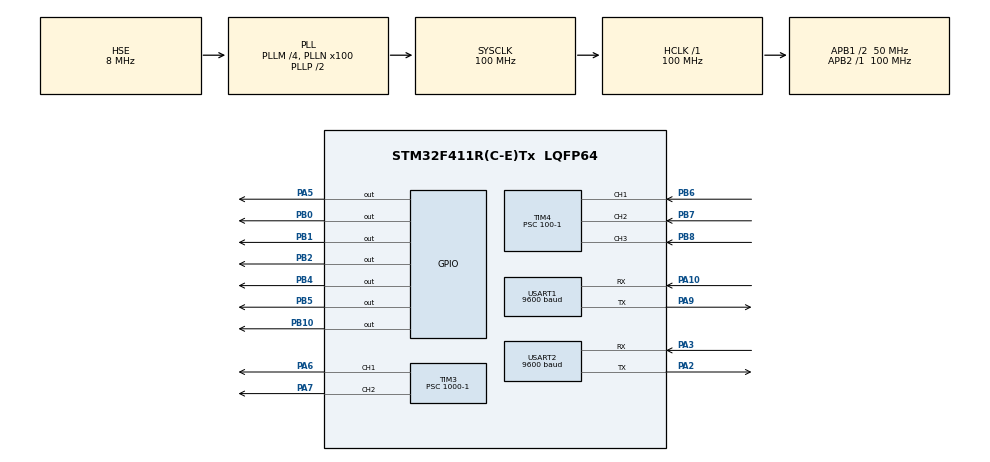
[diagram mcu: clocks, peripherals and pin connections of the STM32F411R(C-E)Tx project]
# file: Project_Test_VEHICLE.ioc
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FREERTOS.Tasks01=L_MOTOR_TASK,24,128,L_MOTOR_TASK01,Default,NULL,Dynamic,NULL,NULL;R_MOTOR_TASK,8,128,R_MOTOR_TASK01,Default,NULL,Dynamic,NULL,NULL;CENTER_SONIC,24,128,CENTER_SONIC01,Default,NULL,Dynamic,NULL,NULL;LEFT_SONIC,24,128,LEFT_SONIC01,Default,NULL,Dynamic,NULL,NULL;RIGHT_SONIC,24,128,RIGHT_SONIC01,Default,NULL,Dynamic,NULL,NULL
FREERTOS.configUSE_NEWLIB_REENTRANT=1
Mcu.Family=STM32F4
Mcu.Name=STM32F411R(C-E)Tx
Mcu.Package=LQFP64
NVIC.PriorityGroup=NVIC_PRIORITYGROUP_4
NVIC.TIM1_UP_TIM10_IRQn=true\:15\:0\:false\:false\:true\:false\:false\:true\:true
NVIC.TIM3_IRQn=true\:5\:0\:false\:false\:true\:true\:true\:true\:true
NVIC.TIM4_IRQn=true\:5\:0\:false\:false\:true\:true\:true\:true\:true
NVIC.TimeBase=TIM1_UP_TIM10_IRQn
NVIC.TimeBaseIP=TIM10
NVIC.USART1_IRQn=true\:5\:0\:false\:false\:true\:true\:true\:true\:true
NVIC.USART2_IRQn=true\:5\:0\:false\:false\:true\:true\:true\:true\:true
PA10.Mode=Asynchronous
PA10.Signal=USART1_RX
PA13.Mode=Serial_Wire
PA13.Signal=SYS_JTMS-SWDIO
PA14.Mode=Serial_Wire
PA14.Signal=SYS_JTCK-SWCLK
PA2.Mode=Asynchronous
PA2.Signal=USART2_TX
PA3.Mode=Asynchronous
PA3.Signal=USART2_RX
PA5.GPIO_Speed=GPIO_SPEED_FREQ_VERY_HIGH
PA5.Signal=GPIO_Output
PA6.Signal=S_TIM3_CH1
PA7.Signal=S_TIM3_CH2
PA9.Mode=Asynchronous
PA9.Signal=USART1_TX
PB0.Signal=GPIO_Output
PB1.Signal=GPIO_Output
PB10.Signal=GPIO_Output
PB2.Signal=GPIO_Output
PB4.GPIO_Speed=GPIO_SPEED_FREQ_VERY_HIGH
PB4.Signal=GPIO_Output
PB5.GPIO_Speed=GPIO_SPEED_FREQ_VERY_HIGH
PB5.Signal=GPIO_Output
PB6.Signal=S_TIM4_CH1
PB7.Signal=S_TIM4_CH2
PB8.Signal=S_TIM4_CH3
PH0\ -\ OSC_IN.Mode=HSE-External-Oscillator
PH0\ -\ OSC_IN.Signal=RCC_OSC_IN
PH1\ -\ OSC_OUT.Mode=HSE-External-Oscillator
PH1\ -\ OSC_OUT.Signal=RCC_OSC_OUT
ProjectManager.HeapSize=0x200
ProjectManager.StackSize=0x400
ProjectManager.TargetToolchain=STM32CubeIDE
RCC.48MHZClocksFreq_Value=50000000
RCC.AHBFreq_Value=100000000
RCC.APB1CLKDivider=RCC_HCLK_DIV2
RCC.APB1Freq_Value=50000000
RCC.APB1TimFreq_Value=100000000
RCC.APB2Freq_Value=100000000
RCC.APB2TimFreq_Value=100000000
RCC.CortexFreq_Value=100000000
RCC.HCLKFreq_Value=100000000
RCC.HSE_VALUE=8000000
RCC.HSI_VALUE=16000000
RCC.LSE_VALUE=32768
RCC.PLLM=4
RCC.PLLN=100
RCC.PLLSourceVirtual=RCC_PLLSOURCE_HSE
RCC.SYSCLKFreq_VALUE=100000000
RCC.SYSCLKSource=RCC_SYSCLKSOURCE_PLLCLK
RCC.VCOOutputFreq_Value=200000000
SH.S_TIM3_CH1.0=TIM3_CH1,PWM Generation1 CH1
SH.S_TIM3_CH2.0=TIM3_CH2,PWM Generation2 CH2
SH.S_TIM4_CH1.0=TIM4_CH1,Input_Capture1_from_TI1
SH.S_TIM4_CH2.0=TIM4_CH2,Input_Capture2_from_TI2
SH.S_TIM4_CH3.0=TIM4_CH3,Input_Capture3_from_TI3
TIM11.Prescaler=100-1
TIM3.Channel-PWM\ Generation1\ CH1=TIM_CHANNEL_1
TIM3.Channel-PWM\ Generation2\ CH2=TIM_CHANNEL_2
TIM3.Period=1000-1
TIM3.Prescaler=1000-1
TIM4.Channel-Input_Capture1_from_TI1=TIM_CHANNEL_1
TIM4.Channel-Input_Capture2_from_TI2=TIM_CHANNEL_2
TIM4.Channel-Input_Capture3_from_TI3=TIM_CHANNEL_3
TIM4.ICFilter_CH3=0
TIM4.Prescaler=100-1
USART1.BaudRate=9600
USART1.VirtualMode=VM_ASYNC
USART2.BaudRate=9600
USART2.VirtualMode=VM_ASYNC
VP_FREERTOS_VS_CMSIS_V2.Mode=CMSIS_V2
VP_SYS_VS_tim10.Mode=TIM10
VP_TIM11_VS_ClockSourceINT.Mode=Enable_Timer
VP_TIM3_VS_ClockSourceINT.Mode=Internal
VP_TIM4_VS_ClockSourceINT.Mode=Internal
board=custom

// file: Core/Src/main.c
/* USER CODE BEGIN Header */
/**
  ******************************************************************************
  * @file           : main.c
  * @brief          : Main program body
  ******************************************************************************
  * @attention
  *
  * Copyright (c) 2025 STMicroelectronics.
  * All rights reserved.
  *
  * This software is licensed under terms that can be found in the LICENSE file
  * in the root directory of this software component.
  * If no LICENSE file comes with this software, it is provided AS-IS.
  *
  ******************************************************************************
  */
/* USER CODE END Header */
#include "main.h"
#include "cmsis_os.h"
#include "tim.h"
#include "usart.h"
#include "gpio.h"

/* USER CODE BEGIN Includes */

#include "stdio.h"
#include "motor.h"
#include "delay_us.h"
#include "task.h"
#include "FreeRTOS.h"

/* USER CODE END Includes */

void SystemClock_Config(void);
void MX_FREERTOS_Init(void);

int main(void)
{

  /* MCU Configuration--------------------------------------------------------*/

  /* Reset of all peripherals, Initializes the Flash interface and the Systick. */
  HAL_Init();

  /* Configure the system clock */
  SystemClock_Config();

  /* Initialize all configured peripherals */
  MX_GPIO_Init();
  MX_USART2_UART_Init();
  MX_TIM3_Init();
  MX_USART1_UART_Init();
  MX_TIM4_Init();
  MX_TIM11_Init();
  /* USER CODE BEGIN 2 */

  HAL_TIM_Base_Start(&htim11);          // for us timer
  HAL_TIM_IC_Start_IT(&htim4, TIM_CHANNEL_1); // for ultrasonic timer
  HAL_TIM_IC_Start_IT(&htim4, TIM_CHANNEL_2); // for ultrasonic timer
  HAL_TIM_IC_Start_IT(&htim4, TIM_CHANNEL_3); // for ultrasonic timer

  /* USER CODE END 2 */

  /* Init scheduler */
  osKernelInitialize();  /* Call init function for freertos objects (in cmsis_os2.c) */
  MX_FREERTOS_Init();

  /* Start scheduler */
  osKernelStart();

  /* We should never get here as control is now taken by the scheduler */

  /* Infinite loop */
  while (1)
  {

  }
}

void SystemClock_Config(void)
{
  RCC_OscInitTypeDef RCC_OscInitStruct = {0};
  RCC_ClkInitTypeDef RCC_ClkInitStruct = {0};

  /** Configure the main internal regulator output voltage
  */
  __HAL_RCC_PWR_CLK_ENABLE();
  __HAL_PWR_VOLTAGESCALING_CONFIG(PWR_REGULATOR_VOLTAGE_SCALE1);

  /** Initializes the RCC Oscillators according to the specified parameters
  * in the RCC_OscInitTypeDef structure.
  */
  RCC_OscInitStruct.OscillatorType = RCC_OSCILLATORTYPE_HSE;
  RCC_OscInitStruct.HSEState = RCC_HSE_ON;
  RCC_OscInitStruct.PLL.PLLState = RCC_PLL_ON;
  RCC_OscInitStruct.PLL.PLLSource = RCC_PLLSOURCE_HSE;
  RCC_OscInitStruct.PLL.PLLM = 4;
  RCC_OscInitStruct.PLL.PLLN = 100;
  RCC_OscInitStruct.PLL.PLLP = RCC_PLLP_DIV2;
  RCC_OscInitStruct.PLL.PLLQ = 4;
  if (HAL_RCC_OscConfig(&RCC_OscInitStruct) != HAL_OK)
  {
    Error_Handler();
  }

  /** Initializes the CPU, AHB and APB buses clocks
  */
  RCC_ClkInitStruct.ClockType = RCC_CLOCKTYPE_HCLK|RCC_CLOCKTYPE_SYSCLK
                              |RCC_CLOCKTYPE_PCLK1|RCC_CLOCKTYPE_PCLK2;
  RCC_ClkInitStruct.SYSCLKSource = RCC_SYSCLKSOURCE_PLLCLK;
  RCC_ClkInitStruct.AHBCLKDivider = RCC_SYSCLK_DIV1;
  RCC_ClkInitStruct.APB1CLKDivider = RCC_HCLK_DIV2;
  RCC_ClkInitStruct.APB2CLKDivider = RCC_HCLK_DIV1;

  if (HAL_RCC_ClockConfig(&RCC_ClkInitStruct, FLASH_LATENCY_3) != HAL_OK)
  {
    Error_Handler();
  }
}

void HAL_TIM_PeriodElapsedCallback(TIM_HandleTypeDef *htim)
{
  if (htim->Instance == TIM10)
  {
    HAL_IncTick();
  }
}

void Error_Handler(void)
{
  __disable_irq();
  while (1)
  {
  }
}

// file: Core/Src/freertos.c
/* USER CODE BEGIN Header */
/**
  ******************************************************************************
  * File Name          : freertos.c
  * Description        : Code for freertos applications
  ******************************************************************************
  * @attention
  *
  * Copyright (c) 2025 STMicroelectronics.
  * All rights reserved.
  *
  * This software is licensed under terms that can be found in the LICENSE file
  * in the root directory of this software component.
  * If no LICENSE file comes with this software, it is provided AS-IS.
  *
  ******************************************************************************
  */
/* USER CODE END Header */

#include "FreeRTOS.h"
#include "task.h"
#include "main.h"
#include "cmsis_os.h"

/* USER CODE BEGIN Includes */

#include "stdio.h"
#include "motor.h"
#include "usart.h"
#include "delay_us.h"
#include "tim.h"
#include "gpio.h"

/* USER CODE END Includes */

/* USER CODE BEGIN PTD */

extern UART_HandleTypeDef huart1;
extern UART_HandleTypeDef huart2;

/* USER CODE END PTD */

/* USER CODE BEGIN PD */

// CENTER
#define TRIG_PORT_C GPIOA
#define TRIG_PIN_C GPIO_PIN_5

// LEFT
#define TRIG_PORT_L GPIOB
#define TRIG_PIN_L GPIO_PIN_4

// RIGHT
#define TRIG_PORT_R GPIOB
#define TRIG_PIN_R GPIO_PIN_5

/* USER CODE END PD */

/* USER CODE BEGIN PM */

#ifdef __GNUC__
/* With GCC small printf (option LD Linker->Libraries->Small printf
 * set to 'Yes') calls __io_putchar() */
#define PUTCHAR_PROTOTYPE int  __io_putchar(int ch)
#else
#define PUTCHAR_PROTOTYPE int  fputc(int ch, FILE *f)
#endif /* __GNUC__*/

/** @brief Retargets the C library printf function to the USART.
 *  @param None
 *  @retval None
 */
PUTCHAR_PROTOTYPE
{
  /* Place your implementation of fputc here */
  /* e.g. write a character to the USART2 and Loop
     until the end of transmission */
  if(ch == '\n')
    HAL_UART_Transmit(&huart2, (uint8_t*) "\r", 1, 0xFFFF);
    HAL_UART_Transmit(&huart2, (uint8_t*) &ch, 1, 0xFFFF);
}

/* USER CODE END PM */

/* USER CODE BEGIN Variables */

extern UART_HandleTypeDef huart1;
extern UART_HandleTypeDef huart2;
uint8_t rx_data;

// 중앙
uint16_t IC_Value1_C = 0;
uint16_t IC_Value2_C = 0;
uint16_t echoTime_C = 0;
uint8_t captureFlag_C = 0;
uint8_t distance_C = 0;

// LEFT
uint16_t IC_Value1_L = 0;
uint16_t IC_Value2_L = 0;
uint16_t echoTime_L = 0;
uint8_t captureFlag_L = 0;
uint8_t distance_L = 0;

// RIGHT
uint16_t IC_Value1_R = 0;
uint16_t IC_Value2_R = 0;
uint16_t echoTime_R = 0;
uint8_t captureFlag_R = 0;
uint8_t distance_R = 0;

/* USER CODE END Variables */
/* Definitions for L_MOTOR_TASK */
osThreadId_t L_MOTOR_TASKHandle;
const osThreadAttr_t L_MOTOR_TASK_attributes = {
  .name = "L_MOTOR_TASK",
  .stack_size = 128 * 4,
  .priority = (osPriority_t) osPriorityNormal,
};
/* Definitions for R_MOTOR_TASK */
osThreadId_t R_MOTOR_TASKHandle;
const osThreadAttr_t R_MOTOR_TASK_attributes = {
  .name = "R_MOTOR_TASK",
  .stack_size = 128 * 4,
  .priority = (osPriority_t) osPriorityLow,
};
/* Definitions for CENTER_SONIC */
osThreadId_t CENTER_SONICHandle;
const osThreadAttr_t CENTER_SONIC_attributes = {
  .name = "CENTER_SONIC",
  .stack_size = 128 * 4,
  .priority = (osPriority_t) osPriorityNormal,
};
/* Definitions for LEFT_SONIC */
osThreadId_t LEFT_SONICHandle;
const osThreadAttr_t LEFT_SONIC_attributes = {
  .name = "LEFT_SONIC",
  .stack_size = 128 * 4,
  .priority = (osPriority_t) osPriorityNormal,
};
/* Definitions for RIGHT_SONIC */
osThreadId_t RIGHT_SONICHandle;
const osThreadAttr_t RIGHT_SONIC_attributes = {
  .name = "RIGHT_SONIC",
  .stack_size = 128 * 4,
  .priority = (osPriority_t) osPriorityNormal,
};

/* USER CODE BEGIN FunctionPrototypes */

void HAL_UART_RxCpltCallback(UART_HandleTypeDef *huart)
{
//  if (huart->Instance == USART2)
//  {
  HAL_UART_Receive_IT(&huart2, &rx_data, sizeof(rx_data));  // 다음 수신 준비 // 디버그용
  HAL_UART_Receive_IT(&huart1, &rx_data, sizeof(rx_data));  // 블루투스
    switch (rx_data)
    {
      case 'F':
        L_Motor_Forward();
        R_Motor_Forward();
        Set_L_Motor_PWM(700);
        Set_R_Motor_PWM(700);
        break;
      case 'B':
        L_Motor_Backward();
        R_Motor_Backward();
        Set_L_Motor_PWM(700);
        Set_R_Motor_PWM(700);
        break;
      case 'L':
        L_Motor_Backward();
        R_Motor_Forward();
        Set_L_Motor_PWM(200);
        Set_R_Motor_PWM(600);
        break;
      case 'R':
        L_Motor_Forward();
        R_Motor_Backward();
        Set_L_Motor_PWM(600);
        Set_R_Motor_PWM(200);
        break;
      case 'X':
        L_Motor_Stop();
        R_Motor_Stop();
        break;
      case 'S':
        L_Motor_Stop();
        R_Motor_Stop();
        break;
    }

//  }
}

void HAL_TIM_IC_CaptureCallback(TIM_HandleTypeDef *htim)
{
  if(htim->Channel == HAL_TIM_ACTIVE_CHANNEL_2) // RIGHT
  {
    if(captureFlag_R == 0)  // 아직 캡처를 안했다면
    {
      IC_Value1_R = HAL_TIM_ReadCapturedValue(&htim4, TIM_CHANNEL_2);
      captureFlag_R = 1;    // 캡처 했음 !!!
      // 캡처에 대한 극성을 라이징에서 폴링으로 바꿈
      __HAL_TIM_SET_CAPTUREPOLARITY(&htim4, TIM_CHANNEL_2, TIM_INPUTCHANNELPOLARITY_FALLING);
    }
    else if(captureFlag_R == 1) // 캡처를 했다면
    {
      IC_Value2_R = HAL_TIM_ReadCapturedValue(&htim4, TIM_CHANNEL_2);
      __HAL_TIM_SET_COUNTER(&htim4, 0);

      if(IC_Value2_R > IC_Value1_R)
      {
        echoTime_R = IC_Value2_R - IC_Value1_R;
      }
      else if(IC_Value1_R > IC_Value2_R)
      {
        echoTime_R = (0xffff - IC_Value1_R) + IC_Value2_R;
      }
      distance_R = echoTime_R / 58;
      captureFlag_R = 0;
      __HAL_TIM_SET_CAPTUREPOLARITY(&htim4, TIM_CHANNEL_2, TIM_INPUTCHANNELPOLARITY_RISING);
      __HAL_TIM_DISABLE_IT(&htim4, TIM_IT_CC2);
    }
  }

  if(htim->Channel == HAL_TIM_ACTIVE_CHANNEL_1) // LEFT
  {
    if(captureFlag_L == 0)  // 아직 캡처를 안했다면
    {
      IC_Value1_L = HAL_TIM_ReadCapturedValue(&htim4, TIM_CHANNEL_1);
      captureFlag_L = 1;    // 캡처 했음 !!!
      // 캡처에 대한 극성을 라이징에서 폴링으로 바꿈
      __HAL_TIM_SET_CAPTUREPOLARITY(&htim4, TIM_CHANNEL_1, TIM_INPUTCHANNELPOLARITY_FALLING);
    }
    else if(captureFlag_L == 1) // 캡처를 했다면
    {
      IC_Value2_L = HAL_TIM_ReadCapturedValue(&htim4, TIM_CHANNEL_1);
      __HAL_TIM_SET_COUNTER(&htim4, 0);

      if(IC_Value2_L > IC_Value1_L)
      {
        echoTime_L = IC_Value2_L - IC_Value1_L;
      }
      else if(IC_Value1_L > IC_Value2_L)
      {
        echoTime_L = (0xffff - IC_Value1_L) + IC_Value2_L;
      }
      distance_L = echoTime_L / 58;
      captureFlag_L = 0;
      __HAL_TIM_SET_CAPTUREPOLARITY(&htim4, TIM_CHANNEL_1, TIM_INPUTCHANNELPOLARITY_RISING);
      __HAL_TIM_DISABLE_IT(&htim4, TIM_IT_CC1);
    }
  }

  if(htim->Channel == HAL_TIM_ACTIVE_CHANNEL_3) // CENTER
  {
    if(captureFlag_C == 0)  // 아직 캡처를 안했다면
    {
      IC_Value1_C = HAL_TIM_ReadCapturedValue(&htim4, TIM_CHANNEL_3);
      captureFlag_C = 1;    // 캡처 했음 !!!
      // 캡처에 대한 극성을 라이징에서 폴링으로 바꿈
      __HAL_TIM_SET_CAPTUREPOLARITY(&htim4, TIM_CHANNEL_3, TIM_INPUTCHANNELPOLARITY_FALLING);
    }
    else if(captureFlag_C == 1) // 캡처를 했다면
    {
      IC_Value2_C = HAL_TIM_ReadCapturedValue(&htim4, TIM_CHANNEL_3);
      __HAL_TIM_SET_COUNTER(&htim4, 0);

      if(IC_Value2_C > IC_Value1_C)
      {
        echoTime_C = IC_Value2_C - IC_Value1_C;
      }
      else if(IC_Value1_C > IC_Value2_C)
      {
        echoTime_C = (0xffff - IC_Value1_C) + IC_Value2_C;
      }
      distance_C = echoTime_C / 58;
      captureFlag_C = 0;
      __HAL_TIM_SET_CAPTUREPOLARITY(&htim4, TIM_CHANNEL_3, TIM_INPUTCHANNELPOLARITY_RISING);
      __HAL_TIM_DISABLE_IT(&htim4, TIM_IT_CC3);
    }
  }
}

void HCSR04_TRIG_C(void)
{
  HAL_GPIO_WritePin(TRIG_PORT_C, TRIG_PIN_C, GPIO_PIN_RESET);
  delay_us(10);
  HAL_GPIO_WritePin(TRIG_PORT_C, TRIG_PIN_C, GPIO_PIN_SET);

  __HAL_TIM_ENABLE_IT(&htim4, TIM_IT_CC3);
}

void HCSR04_TRIG_L(void)
{
  HAL_GPIO_WritePin(TRIG_PORT_L, TRIG_PIN_L, GPIO_PIN_RESET);
  delay_us(10);
  HAL_GPIO_WritePin(TRIG_PORT_L, TRIG_PIN_L, GPIO_PIN_SET);

  __HAL_TIM_ENABLE_IT(&htim4, TIM_IT_CC1);
}

void HCSR04_TRIG_R(void)
{
  HAL_GPIO_WritePin(TRIG_PORT_R, TRIG_PIN_R, GPIO_PIN_RESET);
  delay_us(10);
  HAL_GPIO_WritePin(TRIG_PORT_R, TRIG_PIN_R, GPIO_PIN_SET);

  __HAL_TIM_ENABLE_IT(&htim4, TIM_IT_CC2);
}

/* USER CODE END FunctionPrototypes */

void L_MOTOR_TASK01(void *argument);
void R_MOTOR_TASK01(void *argument);
void CENTER_SONIC01(void *argument);
void LEFT_SONIC01(void *argument);
void RIGHT_SONIC01(void *argument);

void MX_FREERTOS_Init(void); /* (MISRA C 2004 rule 8.1) */

void MX_FREERTOS_Init(void) {
  /* USER CODE BEGIN Init */

  HAL_UART_Receive_IT(&huart2, &rx_data, sizeof(rx_data));
  HAL_UART_Receive_IT(&huart1, &rx_data, sizeof(rx_data));

  /* USER CODE END Init */

  /* Create the thread(s) */
  /* creation of L_MOTOR_TASK */
  L_MOTOR_TASKHandle = osThreadNew(L_MOTOR_TASK01, NULL, &L_MOTOR_TASK_attributes);

  /* creation of R_MOTOR_TASK */
  R_MOTOR_TASKHandle = osThreadNew(R_MOTOR_TASK01, NULL, &R_MOTOR_TASK_attributes);

  /* creation of CENTER_SONIC */
  CENTER_SONICHandle = osThreadNew(CENTER_SONIC01, NULL, &CENTER_SONIC_attributes);

  /* creation of LEFT_SONIC */
  LEFT_SONICHandle = osThreadNew(LEFT_SONIC01, NULL, &LEFT_SONIC_attributes);

  /* creation of RIGHT_SONIC */
  RIGHT_SONICHandle = osThreadNew(RIGHT_SONIC01, NULL, &RIGHT_SONIC_attributes);

}

void L_MOTOR_TASK01(void *argument)
{
  /* USER CODE BEGIN L_MOTOR_TASK01 */

  HAL_TIM_PWM_Start(&htim3, TIM_CHANNEL_1); // 좌측 PWM 시작
//  HAL_UART_Receive_IT(&huart2, &rx_data, sizeof(rx_data));  // UART 수신 시작
  /* Infinite loop */
  for(;;)
  {
    osDelay(100);  // 아무것도 하지 않고 대기
  }
  /* USER CODE END L_MOTOR_TASK01 */
}

void R_MOTOR_TASK01(void *argument)
{
  /* USER CODE BEGIN R_MOTOR_TASK01 */
  HAL_TIM_PWM_Start(&htim3, TIM_CHANNEL_2); // 우측 PWM 시작
  /* Infinite loop */
  for(;;)
  {
    osDelay(100);  // 아무것도 하지 않고 대기
  }
  /* USER CODE END R_MOTOR_TASK01 */
}

void CENTER_SONIC01(void *argument)
{
  /* USER CODE BEGIN CENTER_SONIC01 */
  /* Infinite loop */
  for(;;)
  {
//    HCSR04_TRIG_C();
//    printf("C : %d cm\r\n",distance_C);
//    osDelay(500);
  }
  /* USER CODE END CENTER_SONIC01 */
}

void LEFT_SONIC01(void *argument)
{
  /* USER CODE BEGIN LEFT_SONIC01 */
  /* Infinite loop */
  for(;;)
  {
//    HCSR04_TRIG_L();
//    printf("L : %d cm\r\n",distance_L);
//    osDelay(500);
  }
  /* USER CODE END LEFT_SONIC01 */
}

void RIGHT_SONIC01(void *argument)
{
  /* USER CODE BEGIN RIGHT_SONIC01 */
  /* Infinite loop */
  for(;;)
  {
    HCSR04_TRIG_R();
    printf("R : %d cm\r\n",distance_R);
    osDelay(500);
  }
  /* USER CODE END RIGHT_SONIC01 */
}
